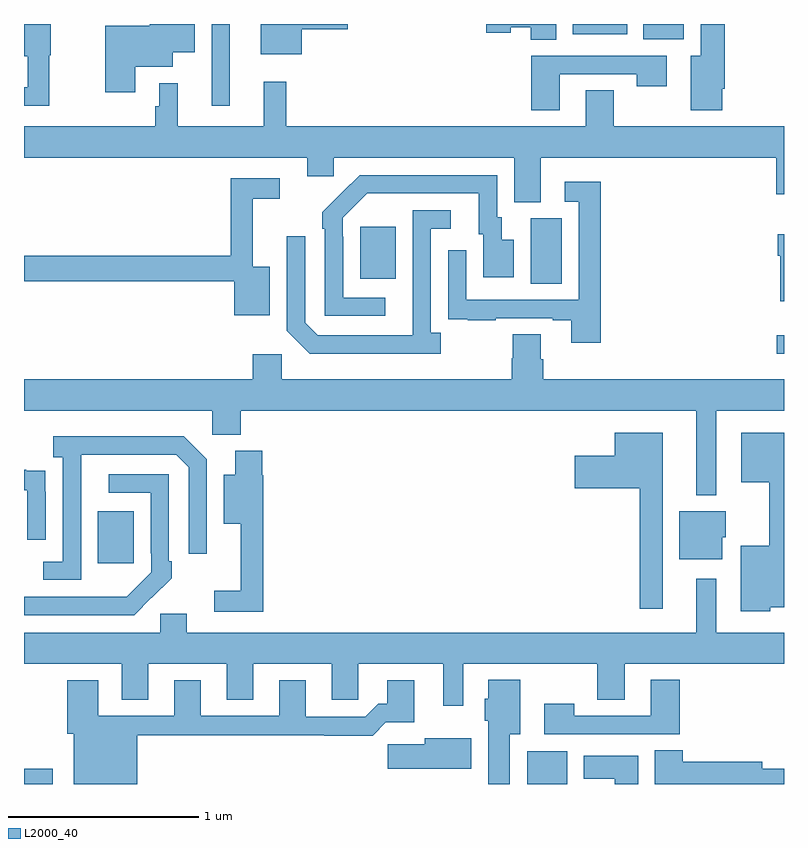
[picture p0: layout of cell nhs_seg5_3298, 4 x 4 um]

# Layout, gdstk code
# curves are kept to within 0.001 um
import gdstk
lib = gdstk.Library(unit=1e-6, precision=1e-09)
def R(c, l, rs):  # rectangles x0, y0, x1, y1
    for r in rs: c.add(gdstk.rectangle(r[:2], r[2:], *l))
def P(c, l, *ps):  # polygons
    for p in ps: c.add(gdstk.Polygon(p, *l))
L2000_40 = (2000, 40)

nhs_seg5_3298 = lib.new_cell('nhs_seg5_3298')
R(nhs_seg5_3298, L2000_40, [(303,850.799,303.151,850.88), (305.648,850.799,305.86,850.972), (303.389,851.961,303.577,852.235), (306.963,853.064,307,853.161), (305.666,853.432,305.83,853.776), (304.769,853.457,304.957,853.732), (303.987,854.37,304.084,854.799), (306.26,854.72,306.472,854.799), (305.888,854.744,306.175,854.799)])
P(nhs_seg5_3298, L2000_40, [(303.134,854.634),(303.142,854.634),(303.142,854.799),(303,854.799),(303,854.63),(303.021,854.63),(303.021,854.467),(303,854.467),(303,854.37),(303.134,854.37)],
  [(303.586,854.573),(303.784,854.573),(303.784,854.651),(303.898,854.651),(303.898,854.799),(303.662,854.799),(303.662,854.791),(303.428,854.791),(303.428,854.439),(303.586,854.439)],
  [(304.462,854.771),(304.705,854.771),(304.705,854.799),(304.247,854.799),(304.247,854.639),(304.462,854.639)],
  [(306.676,854.458),(306.689,854.458),(306.689,854.799),(306.563,854.799),(306.563,854.632),(306.509,854.632),(306.509,854.346),(306.676,854.346)],
  [(305.8,854.799),(305.432,854.799),(305.432,854.753),(305.562,854.753),(305.562,854.783),(305.666,854.783),(305.666,854.716),(305.8,854.716)],
  [(305.821,854.535),(306.226,854.535),(306.226,854.472),(306.382,854.472),(306.382,854.631),(305.669,854.631),(305.669,854.346),(305.821,854.346)],
  [(304.262,854.494),(304.262,854.26),(303.809,854.26),(303.809,854.488),(303.711,854.488),(303.711,854.367),(303.691,854.367),(303.691,854.26),(303,854.26),(303,854.096),(304.49,854.096),(304.49,853.998),(304.629,853.998),(304.629,854.096),(305.579,854.096),(305.579,853.861),(305.719,853.861),(305.719,854.096),(306.959,854.096),(306.959,853.902),(307,853.902),(307,854.26),(306.105,854.26),(306.105,854.45),(305.957,854.45),(305.957,854.26),(304.379,854.26),(304.379,854.494)],
  [(304.9,853.359),(304.68,853.359),(304.68,853.679),(304.677,853.679),(304.677,853.779),(304.806,853.908),(305.393,853.908),(305.393,853.692),(305.417,853.692),(305.417,853.467),(305.578,853.467),(305.578,853.663),(305.515,853.663),(305.515,853.782),(305.49,853.782),(305.49,854.004),(304.766,854.004),(304.569,853.809),(304.569,853.721),(304.584,853.721),(304.584,853.263),(304.9,853.263)],
  [(304.294,853.522),(304.205,853.522),(304.205,853.878),(304.345,853.878),(304.345,853.986),(304.087,853.986),(304.087,853.58),(303,853.58),(303,853.444),(304.107,853.444),(304.107,853.265),(304.294,853.265)],
  [(306.035,853.969),(305.847,853.969),(305.847,853.863),(305.919,853.863),(305.919,853.347),(305.328,853.347),(305.328,853.609),(305.232,853.609),(305.232,853.354),(305.233,853.354),(305.233,853.245),(305.335,853.245),(305.335,853.239),(305.483,853.239),(305.483,853.251),(305.783,853.251),(305.783,853.239),(305.879,853.239),(305.879,853.122),(306.035,853.122)],
  [(305.194,853.174),(305.142,853.174),(305.142,853.722),(305.245,853.722),(305.245,853.818),(305.046,853.818),(305.045,853.161),(304.545,853.161),(304.479,853.227),(304.479,853.681),(304.383,853.681),(304.383,853.185),(304.504,853.064),(305.194,853.064)],
  [(307,853.693),(306.968,853.693),(306.968,853.58),(306.98,853.58),(306.98,853.34),(307,853.34)],
  [(306.643,852.764),(307,852.764),(307,852.928),(305.732,852.928),(305.732,853.034),(305.719,853.034),(305.719,853.166),(305.572,853.166),(305.572,853.041),(305.567,853.041),(305.567,852.928),(304.356,852.928),(304.356,853.06),(304.205,853.06),(304.205,852.928),(303,852.928),(303,852.764),(303.99,852.764),(303.99,852.638),(304.142,852.638),(304.142,852.764),(306.539,852.764),(306.539,852.32),(306.643,852.32)],
  [(306.361,852.649),(306.11,852.649),(306.11,852.526),(305.898,852.526),(305.898,852.356),(306.24,852.356),(306.24,851.721),(306.361,851.721)],
  [(306.927,851.729),(307,851.729),(307,852.649),(306.776,852.649),(306.776,852.386),(306.923,852.386),(306.923,852.052),(306.773,852.052),(306.773,851.708),(306.927,851.708)],
  [(303.3,852.331),(303.301,852.531),(303.801,852.531),(303.867,852.465),(303.867,852.012),(303.963,852.012),(303.963,852.507),(303.842,852.628),(303.153,852.628),(303.153,852.518),(303.204,852.518),(303.204,851.97),(303.102,851.97),(303.102,851.874),(303.3,851.874)],
  [(304.259,852.423),(304.253,852.423),(304.253,852.553),(304.112,852.553),(304.112,852.427),(304.052,852.427),(304.052,852.17),(304.142,852.17),(304.142,851.815),(304.002,851.815),(304.002,851.706),(304.259,851.706)],
  [(303.114,852.338),(303.113,852.338),(303.113,852.447),(303.011,852.447),(303.011,852.454),(303,852.454),(303,852.345),(303.018,852.345),(303.018,852.084),(303.114,852.084)],
  [(303.671,851.779),(303.672,851.778),(303.777,851.883),(303.777,851.971),(303.762,851.971),(303.762,852.429),(303.447,852.429),(303.447,852.333),(303.666,852.333),(303.666,852.013),(303.669,852.013),(303.669,851.913),(303.541,851.785),(303,851.784),(303,851.688),(303.58,851.688)],
  [(306.676,852.099),(306.694,852.099),(306.694,852.235),(306.449,852.235),(306.449,851.981),(306.676,851.981)],
  [(305.311,851.432),(306.016,851.432),(306.016,851.242),(306.163,851.242),(306.163,851.432),(307,851.432),(307,851.596),(306.643,851.596),(306.643,851.878),(306.539,851.878),(306.539,851.596),(303.856,851.596),(303.856,851.694),(303.717,851.694),(303.717,851.596),(303,851.596),(303,851.432),(303.515,851.432),(303.515,851.242),(303.655,851.242),(303.655,851.432),(304.067,851.432),(304.067,851.242),(304.207,851.242),(304.207,851.432),(304.619,851.432),(304.619,851.242),(304.758,851.242),(304.758,851.432),(305.207,851.432),(305.207,851.211),(305.311,851.211)],
  [(305.557,851.06),(305.611,851.06),(305.611,851.347),(305.444,851.347),(305.444,851.247),(305.426,851.247),(305.426,851.133),(305.444,851.133),(305.444,850.799),(305.557,850.799)],
  [(306.452,851.347),(306.299,851.347),(306.299,851.157),(305.895,851.157),(305.895,851.221),(305.739,851.221),(305.739,851.061),(306.452,851.061)],
  [(303.595,851.056),(304.579,851.056),(304.579,851.054),(304.835,851.054),(304.904,851.123),(305.053,851.123),(305.053,851.344),(304.913,851.344),(304.913,851.221),(304.864,851.221),(304.797,851.154),(304.483,851.154),(304.483,851.344),(304.343,851.344),(304.343,851.157),(303.931,851.157),(303.931,851.344),(303.791,851.344),(303.791,851.157),(303.391,851.157),(303.391,851.344),(303.227,851.344),(303.227,851.064),(303.263,851.064),(303.263,850.799),(303.595,850.799)],
  [(305.353,851.041),(305.108,851.041),(305.108,851.009),(304.914,851.009),(304.914,850.88),(305.353,850.88)],
  [(307,850.88),(306.886,850.88),(306.886,850.916),(306.467,850.916),(306.467,850.976),(306.32,850.976),(306.32,850.799),(307,850.799)],
  [(306.232,850.948),(305.945,850.948),(305.945,850.826),(306.11,850.826),(306.11,850.799),(306.232,850.799)])

lib.write_gds('nhs_seg5_3298.gds')
